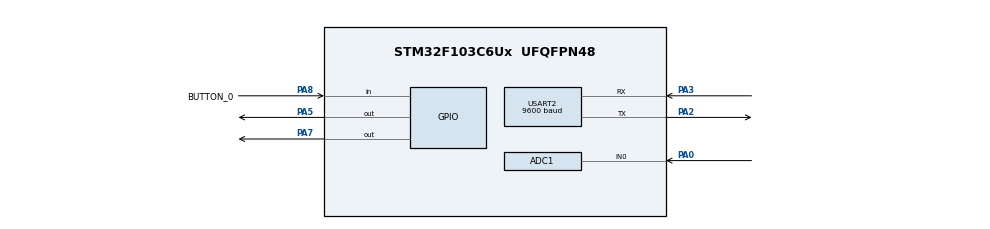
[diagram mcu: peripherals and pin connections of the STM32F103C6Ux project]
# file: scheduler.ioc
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ADC1.Channel-0\#ChannelRegularConversion=ADC_CHANNEL_0
ADC1.ContinuousConvMode=ENABLE
ADC1.NbrOfConversionFlag=1
ADC1.Rank-0\#ChannelRegularConversion=1
ADC1.SamplingTime-0\#ChannelRegularConversion=ADC_SAMPLETIME_1CYCLE_5
ADC1.master=1
Mcu.Family=STM32F1
Mcu.Name=STM32F103C6Ux
Mcu.Package=UFQFPN48
NVIC.PriorityGroup=NVIC_PRIORITYGROUP_4
NVIC.TIM2_IRQn=true\:0\:0\:false\:false\:true\:true\:true
NVIC.USART2_IRQn=true\:0\:0\:false\:false\:true\:true\:true
PA0-WKUP.Signal=ADCx_IN0
PA2.Mode=Asynchronous
PA2.Signal=USART2_TX
PA3.Mode=Asynchronous
PA3.Signal=USART2_RX
PA5.Signal=GPIO_Output
PA6.Signal=S_TIM3_CH1
PA7.Signal=GPIO_Output
PA8.GPIO_Label=BUTTON_0
PA8.Signal=GPIO_Input
ProjectManager.HeapSize=0x200
ProjectManager.StackSize=0x400
ProjectManager.TargetToolchain=STM32CubeIDE
RCC.APB1Freq_Value=8000000
RCC.APB2Freq_Value=8000000
SH.ADCx_IN0.0=ADC1_IN0,IN0
SH.S_TIM3_CH1.0=TIM3_CH1
TIM2.Period=9
TIM2.Prescaler=7999
USART2.BaudRate=9600
USART2.VirtualMode=VM_ASYNC
VP_SYS_VS_ND.Mode=No_Debug
VP_TIM2_VS_ClockSourceINT.Mode=Internal
board=custom

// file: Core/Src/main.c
/* USER CODE BEGIN Header */
/**
  ******************************************************************************
  * @file           : main.c
  * @brief          : Main program body
  ******************************************************************************
  * @attention
  *
  * <h2><center>&copy; Copyright (c) 2023 STMicroelectronics.
  * All rights reserved.</center></h2>
  *
  * This software component is licensed by ST under BSD 3-Clause license,
  * the "License"; You may not use this file except in compliance with the
  * License. You may obtain a copy of the License at:
  *                        opensource.org/licenses/BSD-3-Clause
  *
  ******************************************************************************
  */
/* USER CODE END Header */
#include "main.h"

/* USER CODE BEGIN Includes */
#include "scheduler.h"
#include "stdio.h"
#include "input_reading.h"
#include "input_processing.h"
/* USER CODE END Includes */

ADC_HandleTypeDef hadc1;

TIM_HandleTypeDef htim2;

UART_HandleTypeDef huart2;

void SystemClock_Config(void);
static void MX_GPIO_Init(void);
static void MX_ADC1_Init(void);
static void MX_USART2_UART_Init(void);
static void MX_TIM2_Init(void);

/* USER CODE BEGIN 0 */
uint8_t temp = 0;
char str[30];

void HAL_UART_RxCpltCallback ( UART_HandleTypeDef * huart ) {
	if( huart -> Instance == USART2 ) {
		HAL_UART_Receive_IT(&huart2, &temp, 2);
	}
}

void function_A(){
	 HAL_UART_Transmit(&huart2, (void*)str, sprintf(str, "Executed function A\r\n"), 1000);
}
void function_B(){
	 HAL_UART_Transmit(&huart2, (void*)str, sprintf(str, "Executed function B\r\n"), 1000);
}
void function_C(){
	 HAL_UART_Transmit(&huart2, (void*)str, sprintf(str, "Executed function C\r\n"), 1000);
}
/* USER CODE END 0 */

int main(void)
{

  /* MCU Configuration--------------------------------------------------------*/

  /* Reset of all peripherals, Initializes the Flash interface and the Systick. */
  HAL_Init();

  /* Configure the system clock */
  SystemClock_Config();

  /* Initialize all configured peripherals */
  MX_GPIO_Init();
  MX_ADC1_Init();
  MX_USART2_UART_Init();
  MX_TIM2_Init();
  /* USER CODE BEGIN 2 */
  HAL_TIM_Base_Start_IT(&htim2);
  SCH_Init();
  /* USER CODE END 2 */

  /* Infinite loop */
  /* USER CODE BEGIN WHILE */
  SCH_Add_Task(function_A, 0, 100);
  SCH_Add_Task(function_B, 0, 200);
  SCH_Add_Task(function_C, 0, 300);
  SCH_Add_Task(button_reading, 0, 1);
  SCH_Add_Task(buttonPress, 0, 1);
  while (1)
  {
    /* USER CODE END WHILE */
	  SCH_Dispatch_Tasks();
  }
}

void SystemClock_Config(void)
{
  RCC_OscInitTypeDef RCC_OscInitStruct = {0};
  RCC_ClkInitTypeDef RCC_ClkInitStruct = {0};
  RCC_PeriphCLKInitTypeDef PeriphClkInit = {0};

  /** Initializes the RCC Oscillators according to the specified parameters
  * in the RCC_OscInitTypeDef structure.
  */
  RCC_OscInitStruct.OscillatorType = RCC_OSCILLATORTYPE_HSI;
  RCC_OscInitStruct.HSIState = RCC_HSI_ON;
  RCC_OscInitStruct.HSICalibrationValue = RCC_HSICALIBRATION_DEFAULT;
  RCC_OscInitStruct.PLL.PLLState = RCC_PLL_NONE;
  if (HAL_RCC_OscConfig(&RCC_OscInitStruct) != HAL_OK)
  {
    Error_Handler();
  }
  /** Initializes the CPU, AHB and APB buses clocks
  */
  RCC_ClkInitStruct.ClockType = RCC_CLOCKTYPE_HCLK|RCC_CLOCKTYPE_SYSCLK
                              |RCC_CLOCKTYPE_PCLK1|RCC_CLOCKTYPE_PCLK2;
  RCC_ClkInitStruct.SYSCLKSource = RCC_SYSCLKSOURCE_HSI;
  RCC_ClkInitStruct.AHBCLKDivider = RCC_SYSCLK_DIV1;
  RCC_ClkInitStruct.APB1CLKDivider = RCC_HCLK_DIV1;
  RCC_ClkInitStruct.APB2CLKDivider = RCC_HCLK_DIV1;

  if (HAL_RCC_ClockConfig(&RCC_ClkInitStruct, FLASH_LATENCY_0) != HAL_OK)
  {
    Error_Handler();
  }
  PeriphClkInit.PeriphClockSelection = RCC_PERIPHCLK_ADC;
  PeriphClkInit.AdcClockSelection = RCC_ADCPCLK2_DIV2;
  if (HAL_RCCEx_PeriphCLKConfig(&PeriphClkInit) != HAL_OK)
  {
    Error_Handler();
  }
}

static void MX_ADC1_Init(void)
{

  ADC_ChannelConfTypeDef sConfig = {0};

  /** Common config
  */
  hadc1.Instance = ADC1;
  hadc1.Init.ScanConvMode = ADC_SCAN_DISABLE;
  hadc1.Init.ContinuousConvMode = ENABLE;
  hadc1.Init.DiscontinuousConvMode = DISABLE;
  hadc1.Init.ExternalTrigConv = ADC_SOFTWARE_START;
  hadc1.Init.DataAlign = ADC_DATAALIGN_RIGHT;
  hadc1.Init.NbrOfConversion = 1;
  if (HAL_ADC_Init(&hadc1) != HAL_OK)
  {
    Error_Handler();
  }
  /** Configure Regular Channel
  */
  sConfig.Channel = ADC_CHANNEL_0;
  sConfig.Rank = ADC_REGULAR_RANK_1;
  sConfig.SamplingTime = ADC_SAMPLETIME_1CYCLE_5;
  if (HAL_ADC_ConfigChannel(&hadc1, &sConfig) != HAL_OK)
  {
    Error_Handler();
  }

}

static void MX_TIM2_Init(void)
{

  TIM_ClockConfigTypeDef sClockSourceConfig = {0};
  TIM_MasterConfigTypeDef sMasterConfig = {0};

  htim2.Instance = TIM2;
  htim2.Init.Prescaler = 7999;
  htim2.Init.CounterMode = TIM_COUNTERMODE_UP;
  htim2.Init.Period = 9;
  htim2.Init.ClockDivision = TIM_CLOCKDIVISION_DIV1;
  htim2.Init.AutoReloadPreload = TIM_AUTORELOAD_PRELOAD_DISABLE;
  if (HAL_TIM_Base_Init(&htim2) != HAL_OK)
  {
    Error_Handler();
  }
  sClockSourceConfig.ClockSource = TIM_CLOCKSOURCE_INTERNAL;
  if (HAL_TIM_ConfigClockSource(&htim2, &sClockSourceConfig) != HAL_OK)
  {
    Error_Handler();
  }
  sMasterConfig.MasterOutputTrigger = TIM_TRGO_RESET;
  sMasterConfig.MasterSlaveMode = TIM_MASTERSLAVEMODE_DISABLE;
  if (HAL_TIMEx_MasterConfigSynchronization(&htim2, &sMasterConfig) != HAL_OK)
  {
    Error_Handler();
  }

}

static void MX_USART2_UART_Init(void)
{

  huart2.Instance = USART2;
  huart2.Init.BaudRate = 9600;
  huart2.Init.WordLength = UART_WORDLENGTH_8B;
  huart2.Init.StopBits = UART_STOPBITS_1;
  huart2.Init.Parity = UART_PARITY_NONE;
  huart2.Init.Mode = UART_MODE_TX_RX;
  huart2.Init.HwFlowCtl = UART_HWCONTROL_NONE;
  huart2.Init.OverSampling = UART_OVERSAMPLING_16;
  if (HAL_UART_Init(&huart2) != HAL_OK)
  {
    Error_Handler();
  }

}

static void MX_GPIO_Init(void)
{
  GPIO_InitTypeDef GPIO_InitStruct = {0};

  /* GPIO Ports Clock Enable */
  __HAL_RCC_GPIOA_CLK_ENABLE();

  /*Configure GPIO pin Output Level */
  HAL_GPIO_WritePin(GPIOA, GPIO_PIN_5|GPIO_PIN_7, GPIO_PIN_RESET);

  /*Configure GPIO pins : PA5 PA7 */
  GPIO_InitStruct.Pin = GPIO_PIN_5|GPIO_PIN_7;
  GPIO_InitStruct.Mode = GPIO_MODE_OUTPUT_PP;
  GPIO_InitStruct.Pull = GPIO_NOPULL;
  GPIO_InitStruct.Speed = GPIO_SPEED_FREQ_LOW;
  HAL_GPIO_Init(GPIOA, &GPIO_InitStruct);

  /*Configure GPIO pin : PA6 */
  GPIO_InitStruct.Pin = GPIO_PIN_6;
  GPIO_InitStruct.Mode = GPIO_MODE_AF_PP;
  GPIO_InitStruct.Speed = GPIO_SPEED_FREQ_LOW;
  HAL_GPIO_Init(GPIOA, &GPIO_InitStruct);

  /*Configure GPIO pin : BUTTON_0_Pin */
  GPIO_InitStruct.Pin = BUTTON_0_Pin;
  GPIO_InitStruct.Mode = GPIO_MODE_INPUT;
  GPIO_InitStruct.Pull = GPIO_NOPULL;
  HAL_GPIO_Init(BUTTON_0_GPIO_Port, &GPIO_InitStruct);

}

/* USER CODE BEGIN 4 */
void HAL_TIM_PeriodElapsedCallback(TIM_HandleTypeDef *htim){
	if(htim -> Instance == TIM2) {
//		button_reading();
		SCH_Update();
	}
}
/* USER CODE END 4 */

void Error_Handler(void)
{
  __disable_irq();
  while (1)
  {
  }
}

/************************ (C) COPYRIGHT STMicroelectronics *****END OF FILE****/
